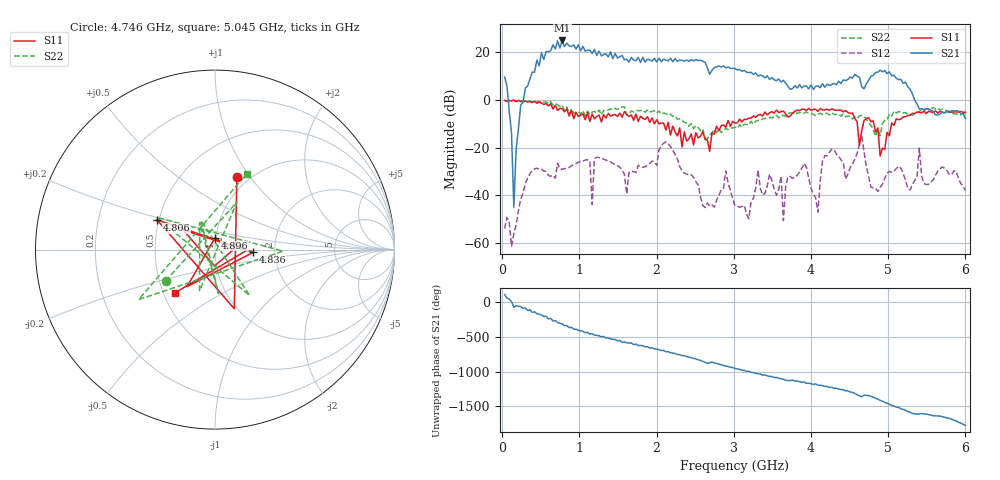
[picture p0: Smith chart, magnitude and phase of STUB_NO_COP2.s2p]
!Keysight Technologies N9916A: A.08.01
!Date: Thursday, 22 June 2023 12:46:39
!Timezone: (GMT+01:00) Amsterdam, Berlin, Bern, Rome, Stockholm, Vienna
!Model: N9916A
!Serial: MY53104702
!GPS Latitude:
!GPS Longitude:
!GPS TimeStamp: 0001-01-01 00:00:00Z
!GPS Seconds Since Last Read: 0
!CHECKSUM:0566971569
!Correction: S11(Rdy)S21(ON U)S12(OFF)S22(Rdy)
!S2P File: Measurements:S11,S21,S12,S22:
# Hz S DB R 50
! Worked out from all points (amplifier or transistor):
!   201 points, 30 MHz to 6 GHz, reference 50 ohm
!   highest |S21| = 24.8 dB at 776.2 MHz (marker M1)
!   |S21| within 3 dB of that: 748.1 MHz to 945 MHz (196.9 MHz wide, 23.3 % of centre) (the widest 1 of 5)
!   unconditionally stable (mu >= 1): 1.556 GHz to 1.866 GHz; 2.249 GHz to 4.262 GHz; 4.278 GHz to end of sweep (the widest 3 of 10)
!   at 1.015 GHz: K = 1.03, MAG = 22.2 dB, |S12| = -25.8 dB
!   at 3.015 GHz: K = 15.03, MAG = 13.9 dB, |S12| = -44.3 dB
!   at 6 GHz: K = 49.05, MAG = -4.8 dB, |S12| = -37.9 dB
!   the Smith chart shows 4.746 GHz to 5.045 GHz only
!   S11 on the Smith chart (normalised r, x): 4.746 GHz: 0.88, +0.86; 4.806 GHz: 0.49, +0.19; 4.836 GHz: 1.54, -0.05; 4.896 GHz: 0.99, +0.13; 5.045 GHz: 0.57, -0.31
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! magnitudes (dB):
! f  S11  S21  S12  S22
! 30 MHz  -0.2  9.5  -53.8  -0.3
! 119.5 MHz  -0.5  -13.9  -61.2  -0.6
! 149.4 MHz  -0.1  -45.0  -56.0  -0.3
! 179.2 MHz  -0.7  -20.8  -52.2  -0.7
! 298.6 MHz  -0.7  4.9  -35.0  -0.8
! 776.2 MHz  -3.8  24.8  -29.0  -2.2
! 1.045 GHz  -5.9  22.3  -25.6  -4.5
! 1.134 GHz  -9.1  20.7  -25.6  -6.1
! 1.164 GHz  -6.0  19.3  -43.8  -5.1
! 1.194 GHz  -8.0  21.1  -24.7  -4.8
! 1.612 GHz  -6.1  17.0  -39.4  -6.4
! 2.03 GHz  -10.0  17.4  -21.0  -4.7
! 3.015 GHz  -9.7  13.1  -44.3  -11.4
! 4.03 GHz  -4.0  4.3  -39.5  -6.1
! 4.657 GHz  -13.0  5.4  -14.6  -6.5
! 4.746 GHz  -7.5  8.1  -32.1  -9.7
! 4.806 GHz  -8.8  10.2  -36.9  -12.2
! 4.836 GHz  -13.4  11.4  -37.0  -15.2
! 4.896 GHz  -23.5  12.4  -36.6  -15.0
! 5.015 GHz  -15.1  11.7  -29.9  -5.9
! 5.045 GHz  -9.7  10.0  -30.3  -6.8
! 6 GHz  -5.2  -7.8  -37.9  -5.7
